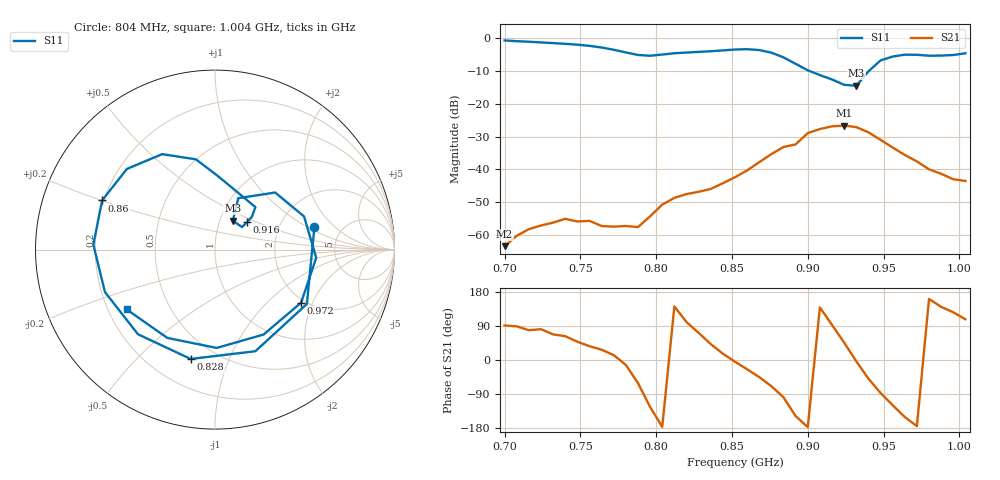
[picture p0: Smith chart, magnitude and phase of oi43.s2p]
# Hz S RI R 50
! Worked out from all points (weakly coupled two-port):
!   39 points, 700 MHz to 1.004 GHz, reference 50 ohm
!   highest |S21| = -26.59 dB at 924 MHz (marker M1); lowest = -63.4 dB at 700 MHz (marker M2)
!   lowest |S11| = -14.5 dB at 932 MHz (marker M3), VSWR 1.47, Z = 57.6 + j19.3 ohm
!   |S11| at or under -10 dB: 901.6 MHz to 940.1 MHz (38.56 MHz wide, 4.19 % of centre)
!   S12 and S22 are empty: the file has one direction only
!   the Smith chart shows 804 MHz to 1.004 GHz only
!   S11 on the Smith chart (normalised r, x): 804 MHz: 3.14, +1.19; 828 MHz: 0.37, -0.73; 860 MHz: 0.19, +0.20; 916 MHz: 1.35, +0.44; 972 MHz: 1.91, -1.65; 1.004 GHz: 0.28, -0.29
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7e8  0.7661 0.5322  -1.37e-05 0.000672  0 0  0 0
7.24e8  0.833 -0.2547  0.00021 0.00137  0 0  0 0
7.4e8  0.4456 -0.6988  0.000803 0.00157  0 0  0 0
7.56e8  -0.1953 -0.7463  0.00132 0.000969  0 0  0 0
7.72e8  -0.6459 -0.1856  0.0013 0.000299  0 0  0 0
7.8e8  -0.5682 0.2282  0.00133 -0.000311  0 0  0 0
7.88e8  -0.2133 0.5173  0.000636 -0.00115  0 0  0 0
7.96e8  0.2571 0.4803  -0.00107 -0.00159  0 0  0 0
8.04e8  0.5541 0.1284  -0.0029 -0.000176  0 0  0 0
8.2e8  0.225 -0.5663  -0.000743 0.00413  0 0  0 0
8.28e8  -0.1355 -0.6092  0.00143 0.00432  0 0  0 0
8.52e8  -0.6777 0.0277  0.00758 -0.000603  0 0  0 0
8.6e8  -0.6289 0.2739  0.00879 -0.00399  0 0  0 0
8.76e8  -0.2943 0.5318  0.00611 -0.016  0 0  0 0
9.08e8  0.2059 0.1836  -0.031 0.0274  0 0  0 0
9.16e8  0.1796 0.1541  -0.0021 0.0455  0 0  0 0
9.24e8  0.1508 0.1255  0.0326 0.0336  0 0  0 0
9.32e8  0.0993 0.1612  0.0442 -0.00253  0 0  0 0
9.56e8  0.4963 0.1847  -0.0106 -0.0189  0 0  0 0
9.72e8  0.4798 -0.2956  -0.0132 -0.00127  0 0  0 0
9.88e8  0.00963 -0.5479  -0.0066 0.00548  0 0  0 0
1.004e9  -0.4919 -0.3334  -0.002 0.00636  0 0  0 0
